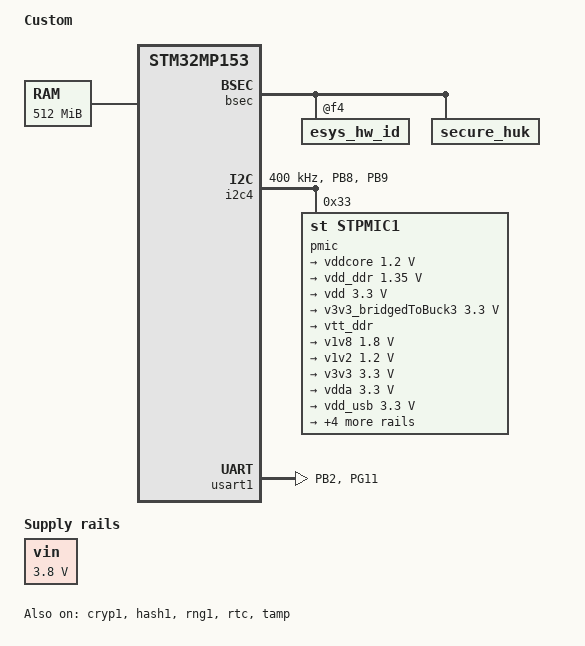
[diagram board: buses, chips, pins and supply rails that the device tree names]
/* SPDX-License-Identifier: (GPL-2.0+ OR BSD-3-Clause) */

/dts-v1/;

#include "stm32mp153.dtsi"
#include "stm32mp15xc.dtsi"
#include "stm32mp15-pinctrl.dtsi"
#include "stm32mp15xxac-pinctrl.dtsi"
#include <dt-bindings/soc/stm32mp15-etzpc.h>
#include <dt-bindings/clock/stm32mp1-clksrc.h>
#include <dt-bindings/power/stm32mp1-power.h>

/ {
	model = "Custom";
	compatible = "st,stm32mp153c-custom", "st,stm32mp153";

	aliases {
		serial0 = &usart1;
	};

	chosen {
		stdout-path = "serial0:115200n8";
	};

	memory@c0000000 {
		device_type = "memory";
		reg = <0xc0000000 0x20000000>;
	};

	clocks {
		clk_lse: clk-lse {
			clock-frequency = <32768>;
			st,drive = < LSEDRV_MEDIUM_HIGH >;
			st,css;
		};

		clk_hse: clk-hse {
			compatible = "fixed-clock";
			clock-frequency = <24000000>;
		};
	};

	vin: vin {
		compatible = "regulator-fixed";
		regulator-name = "vin";
		regulator-min-microvolt = <3800000>;
		regulator-max-microvolt = <3800000>;
		regulator-always-on;
	};

};

&pinctrl {
	i2c4_pins_mx: i2c4_mx-0 {
		pins {
			pinmux = <STM32_PINMUX('B', 8, AF6)>, /* I2C4_SCL */
					 <STM32_PINMUX('B', 9, AF6)>; /* I2C4_SDA */
			bias-disable;
			drive-open-drain;
			slew-rate = <0>;
		};
	};

	rcc_pins_mx: rcc_mx-0 {
		pins {
		     pinmux = <STM32_PINMUX('A', 13, AF2)>; /* RCC_MCO_1 */
		     bias-disable;
		     drive-push-pull;
		     slew-rate = <0>;
		};
	};

	sdmmc1_pins_mx: sdmmc1_mx-0 {
		pins1 {
			pinmux = <STM32_PINMUX('C', 8, AF12)>, /* SDMMC1_D0 */
					 <STM32_PINMUX('C', 9, AF12)>, /* SDMMC1_D1 */
					 <STM32_PINMUX('C', 10, AF12)>, /* SDMMC1_D2 */
					 <STM32_PINMUX('C', 11, AF12)>, /* SDMMC1_D3 */
					 <STM32_PINMUX('D', 2, AF12)>; /* SDMMC1_CMD */
			bias-disable;
			drive-push-pull;
			slew-rate = <1>;
		};
		pins2 {
			pinmux = <STM32_PINMUX('C', 12, AF12)>; /* SDMMC1_CK */
			bias-disable;
			drive-push-pull;
			slew-rate = <3>;
		};
	};

	sdmmc2_pins_mx: sdmmc2_mx-0 {
	pins1 {
			pinmux = <STM32_PINMUX('A', 8, AF9)>, /* SDMMC2_D4 */
					 <STM32_PINMUX('A', 15, AF9)>, /* SDMMC2_D5 */
					 <STM32_PINMUX('B', 3, AF9)>, /* SDMMC2_D2 */
					 <STM32_PINMUX('B', 4, AF9)>, /* SDMMC2_D3 */
					 <STM32_PINMUX('B', 15, AF9)>, /* SDMMC2_D1 */
					 <STM32_PINMUX('C', 7, AF10)>, /* SDMMC2_D7 */
					 <STM32_PINMUX('E', 5, AF9)>, /* SDMMC2_D6 */
					 <STM32_PINMUX('E', 6, AF7)>, /* SDMMC2_D0 */
					 <STM32_PINMUX('G', 6, AF10)>; /* SDMMC2_CMD */
			bias-disable;
			drive-push-pull;
			slew-rate = <1>;
		};
		pins2 {
			pinmux = <STM32_PINMUX('E', 3, AF9)>; /* SDMMC2_CK */
			bias-disable;
			drive-push-pull;
			slew-rate = <3>;
		};
	};

	usart1_pins_mx: usart1_mx-0 {
		pins1 {
			pinmux = <STM32_PINMUX('B', 2, AF4)>; /* USART1_RX */
			bias-disable;
		};
		pins2 {
			pinmux = <STM32_PINMUX('G', 11, AF4)>; /* USART1_TX */
			bias-disable;
			drive-push-pull;
			slew-rate = <0>;
		};
	};

	usb_otg_hs_pins_mx: usb_otg_hs_mx-0 {
		pins {
			pinmux = <STM32_PINMUX('A', 10, ANALOG)>; /* USB_OTG_HS_ID */
		};
	};
};

&pinctrl_z {
};

&bsec{
	status = "okay";
	secure-status = "okay";

	plc_mac_address: mac_plc@ec {
		reg = <0xec 0x8>;
		st,non-secure-otp;
	};

	esys_hw_id: esys_hw_id@f4 {
		reg = <0xf4 0x4>;
		st,non-secure-otp;
	};

	secure_huk: secure_huk@170 {
		/* BSEC_OTP_DATA92 to BSEC_OTP_DATA95 */
		reg = <0x170 0x10>;
		st,non-secure-otp-provisioning;
	};
};

&cpu0{
	cpu-supply = <&vddcore>;
};

&cpu1{
	cpu-supply = <&vddcore>;
};

&cryp1 {
	status = "okay";
};

&etzpc{
	secure-status = "okay";
	st,decprot = <
	/*"Non Secured" peripherals*/
	DECPROT(STM32MP1_ETZPC_ADC_ID, DECPROT_NS_RW, DECPROT_UNLOCK)
	DECPROT(STM32MP1_ETZPC_CRYP1_ID, DECPROT_NS_RW, DECPROT_UNLOCK)
	DECPROT(STM32MP1_ETZPC_DMA1_ID, DECPROT_NS_RW, DECPROT_UNLOCK)
	DECPROT(STM32MP1_ETZPC_DMA2_ID, DECPROT_NS_RW, DECPROT_UNLOCK)
	DECPROT(STM32MP1_ETZPC_DMAMUX_ID, DECPROT_NS_RW, DECPROT_UNLOCK)
	DECPROT(STM32MP1_ETZPC_ETH_ID, DECPROT_NS_RW, DECPROT_UNLOCK)
	DECPROT(STM32MP1_ETZPC_I2C4_ID, DECPROT_NS_RW, DECPROT_UNLOCK)
	DECPROT(STM32MP1_ETZPC_SDMMC3_ID, DECPROT_NS_RW, DECPROT_UNLOCK)
	DECPROT(STM32MP1_ETZPC_DLYBSD3_ID, DECPROT_NS_RW, DECPROT_UNLOCK)
	DECPROT(STM32MP1_ETZPC_UART7_ID, DECPROT_NS_RW, DECPROT_UNLOCK)
	DECPROT(STM32MP1_ETZPC_UART8_ID, DECPROT_NS_RW, DECPROT_UNLOCK)
	DECPROT(STM32MP1_ETZPC_USART1_ID, DECPROT_NS_RW, DECPROT_UNLOCK)
	DECPROT(STM32MP1_ETZPC_USART3_ID, DECPROT_NS_RW, DECPROT_UNLOCK)
	DECPROT(STM32MP1_ETZPC_OTG_ID, DECPROT_NS_RW, DECPROT_UNLOCK)
	DECPROT(STM32MP1_ETZPC_MDIOS_ID, DECPROT_NS_RW, DECPROT_UNLOCK)
	DECPROT(STM32MP1_ETZPC_TT_FDCAN_ID, DECPROT_NS_RW, DECPROT_UNLOCK)
	DECPROT(STM32MP1_ETZPC_HASH1_ID, DECPROT_NS_RW, DECPROT_UNLOCK)
	DECPROT(STM32MP1_ETZPC_SPI4_ID, DECPROT_NS_RW, DECPROT_UNLOCK)
	/*"NS_R S_W" peripherals*/
	DECPROT(STM32MP1_ETZPC_DDRCTRL_ID, DECPROT_NS_R_S_W, DECPROT_LOCK)
	DECPROT(STM32MP1_ETZPC_DDRPHYC_ID, DECPROT_NS_R_S_W, DECPROT_LOCK)
	DECPROT(STM32MP1_ETZPC_SRAM1_ID, DECPROT_NS_R_S_W, DECPROT_LOCK)
	/*"Secured" peripherals*/
	DECPROT(STM32MP1_ETZPC_STGENC_ID, DECPROT_S_RW, DECPROT_LOCK)
	DECPROT(STM32MP1_ETZPC_BKPSRAM_ID, DECPROT_S_RW, DECPROT_LOCK)
	DECPROT(STM32MP1_ETZPC_IWDG1_ID, DECPROT_S_RW, DECPROT_LOCK)
	DECPROT(STM32MP1_ETZPC_RNG1_ID, DECPROT_S_RW, DECPROT_UNLOCK)
	/* FIXME, unlocked ok? "Mcu Isolation" peripherals*/
	DECPROT(STM32MP1_ETZPC_I2C1_ID, DECPROT_MCU_ISOLATION, DECPROT_UNLOCK)
	>;
};

&hash1 {
	status = "okay";
};

&i2c4{
	compatible = "st,stm32mp15-i2c-non-secure";
	pinctrl-names = "default";
	pinctrl-0 = <&i2c4_pins_mx>;
	i2c-scl-rising-time-ns = <185>;
	i2c-scl-falling-time-ns = <20>;
	clock-frequency = <400000>;
	status = "okay";
	secure-status = "okay";

	pmic: stpmic@33 {
		compatible = "st,stpmic1";
		reg = <0x33>;
		interrupt-controller;
		#interrupt-cells = <2>;
		status = "okay";
		secure-status = "okay";

		regulators {
			compatible = "st,stpmic1-regulators";
			buck1-supply = <&vin>;
			buck2-supply = <&vin>;
			buck3-supply = <&vin>;
			buck4-supply = <&vin>;
			boost-supply = <&vin>;
			pwr_sw1-supply = <&bst_out>;
			pwr_sw2-supply = <&bst_out>;
			ldo3-supply = <&vdd_ddr>;
			ldo1-supply = <&vin>;
			ldo6-supply = <&vin>;
			ldo2-supply = <&vin>;
			ldo5-supply = <&vin>;
			ldo4-supply = <&vin>;

			vddcore: buck1 {
				regulator-name = "vddcore";
				regulator-min-microvolt = <1200000>;
				regulator-max-microvolt = <1200000>;
				regulator-always-on;
				regulator-boot-on;
				regulator-over-current-protection;
			};

			vdd_ddr: buck2 {
				regulator-name = "vdd_ddr";
				regulator-min-microvolt = <1350000>;
				regulator-max-microvolt = <1350000>;
				regulator-always-on;
				regulator-over-current-protection;
			};

			vdd: buck3 {
				regulator-name = "vdd";
				regulator-min-microvolt = <3300000>;
				regulator-max-microvolt = <3300000>;
				regulator-always-on;
				st,mask-reset;
				regulator-over-current-protection;
			};

			v3v3_bridgedToBuck3: buck4 {
				regulator-name = "v3v3_bridgedToBuck3";
				regulator-min-microvolt = <3300000>;
				regulator-max-microvolt = <3300000>;
				regulator-always-on;
				regulator-over-current-protection;
			};

			vtt_ddr: ldo3 {
				regulator-name = "vtt_ddr";
				regulator-always-on;
				regulator-over-current-protection;
				st,regulator-sink-source;
			};

			v1v8: ldo1 {
				regulator-name = "v1v8";
				regulator-min-microvolt = <1800000>;
				regulator-max-microvolt = <1800000>;
			};

			v1v2: ldo6 {
				regulator-name = "v1v2";
				regulator-min-microvolt = <1200000>;
				regulator-max-microvolt = <1200000>;
			};

			v3v3: ldo2 {
				regulator-name = "v3v3";
				regulator-min-microvolt = <3300000>;
				regulator-max-microvolt = <3300000>;
				regulator-always-on;
				regulator-boot-on;
			};

			vdda: ldo5 {
				regulator-name = "vdda";
				regulator-min-microvolt = <3300000>;
				regulator-max-microvolt = <3300000>;
				regulator-always-on;
				regulator-boot-on;
			};

			vdd_usb: ldo4 {
				regulator-name = "vdd_usb";
				regulator-min-microvolt = <3300000>;
				regulator-max-microvolt = <3300000>;
			};

			vref_ddr: vref_ddr {
				regulator-name = "vref_ddr";
				regulator-always-on;
			};

			bst_out: boost {
				regulator-name = "bst_out";
			};

			vbus_otg: pwr_sw1 {
				regulator-name = "vbus_otg";
			};

			vbus_sw: pwr_sw2 {
				regulator-name = "vbus_sw";
				regulator-active-discharge = <1>;
			};
		};
	};
};

&pwr_regulators {
      system_suspend_supported_soc_modes = <
		STM32_PM_CSLEEP_RUN
		STM32_PM_CSTOP_ALLOW_STOP
		STM32_PM_CSTOP_ALLOW_LP_STOP
		STM32_PM_CSTOP_ALLOW_LPLV_STOP
		STM32_PM_CSTOP_ALLOW_STANDBY_DDR_SR
       >;

	/* system_off_soc_mode = <STM32_PM_CSTOP_ALLOW_STANDBY_DDR_OFF>; */
	system_off_soc_mode = <STM32_PM_SHUTDOWN>;
	vdd-supply = <&vdd>;
	vdd_3v3_usbfs-supply = <&vdd_usb>;
};

&iwdg2{
	timeout-sec = <32>;
	secure-timeout-sec = <5>;
};

&rcc{
	pinctrl-names = "default";
	pinctrl-0 = <&rcc_pins_mx>;
	status = "okay";
	secure-status = "okay";
	st,csi-cal;
	st,hsi-cal;
	st,cal-sec = <60>;
	st,clksrc = <
		CLK_MPU_PLL1P
		CLK_AXI_PLL2P
		CLK_MCU_PLL3P
		CLK_PLL12_HSI
		CLK_PLL3_HSE
		CLK_PLL4_HSE
		CLK_RTC_LSE
		CLK_MCO1_LSE
		CLK_MCO2_DISABLED
	>;
	st,clkdiv = <
		1		/*MPU*/
		0		/*AXI*/
		0		/*MCU*/
		1		/*APB1*/
		1		/*APB2*/
		1		/*APB3*/
		1		/*APB4*/
		2		/*APB5*/
		0		/*RTC*/
		0		/*MCO1*/
		0		/*MCO2*/
	>;
	st,pkcs = <
		CLK_CKPER_HSI
		CLK_ETH_PLL4P
		CLK_SDMMC12_PLL4P
		CLK_STGEN_HSI
		CLK_USBPHY_HSE
		CLK_SPI2S1_DISABLED
		CLK_SPI2S23_DISABLED
		CLK_SPI45_PCLK2
		CLK_SPI6_DISABLED
		CLK_I2C46_HSI
		CLK_SDMMC3_PLL4P
		CLK_USBO_USBPHY
		CLK_ADC_CKPER
		CLK_CEC_DISABLED
		CLK_I2C12_HSI
		CLK_I2C35_DISABLED
		CLK_UART1_HSE
		CLK_UART24_DISABLED
		CLK_UART35_HSE
		CLK_UART6_DISABLED
		CLK_UART78_HSE
		CLK_SPDIF_DISABLED
		CLK_FDCAN_HSE
		CLK_SAI1_DISABLED
		CLK_SAI2_DISABLED
		CLK_SAI3_DISABLED
		CLK_SAI4_DISABLED
		CLK_LPTIM1_DISABLED
		CLK_LPTIM23_DISABLED
		CLK_LPTIM45_DISABLED
	>;
	pll2:st,pll@1 {
		compatible = "st,stm32mp1-pll";
		reg = <1>;
		cfg = < 3 24 1 1 0 PQR(1,0,1) >;
	};
	pll3:st,pll@2 {
		compatible = "st,stm32mp1-pll";
		reg = <2>;
		cfg = < 3 65 1 16 36 PQR(1,0,0) >;
		frac = < 0x1a04 >;
	};
	pll4:st,pll@3 {
		compatible = "st,stm32mp1-pll";
		reg = <3>;
		cfg = < 1 39 3 7 24 PQR(1,0,0) >;
	};
};

&rng1 {
	status = "okay";
	secure-status = "okay";
};

&rtc{
	status = "okay";
	secure-status = "okay";
};

&tamp{
	status = "okay";
	secure-status = "okay";
};

&timers15 {
	secure-status = "okay";
	st,hsi-cal-input = <7>;
	st,csi-cal-input = <8>;
};

&usart1{
	pinctrl-names = "default";
	pinctrl-0 = <&usart1_pins_mx>;
	status = "okay";
};
